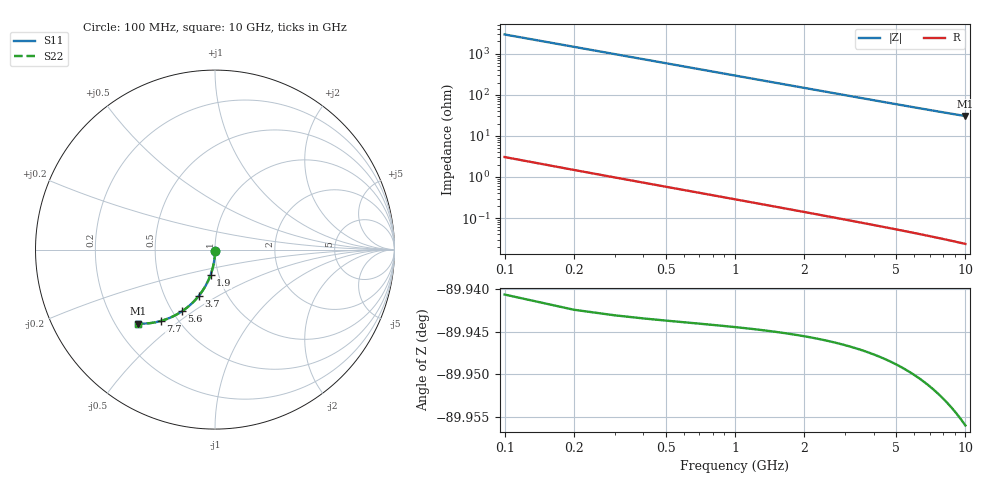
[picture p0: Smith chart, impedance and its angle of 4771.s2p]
# Hz S RI R 50.00
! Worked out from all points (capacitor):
!   100 points, 100 MHz to 10 GHz, reference 50 ohm
!   read as one part in shunt: C = 537 fF near 100 MHz
!   lowest |Z| = 30.6 ohm at 10 GHz (marker M1)
!   S11 on the Smith chart (normalised r, x): 100 MHz: 1.00, -0.02; 1.9 GHz: 0.92, -0.26; 3.7 GHz: 0.74, -0.41; 5.6 GHz: 0.56, -0.45; 7.7 GHz: 0.40, -0.43; 10 GHz: 0.29, -0.37
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1e8  0.000162 -0.00764  0.9997 -0.00924  0.9997 -0.00924  0.000162 -0.00764
2e8  -5.63e-05 -0.0153  0.9995 -0.0185  0.9995 -0.0185  -5.63e-05 -0.0153
3e8  -0.000416 -0.0229  0.9991 -0.0277  0.9991 -0.0277  -0.000416 -0.0229
4e8  -0.000916 -0.0305  0.9986 -0.0369  0.9986 -0.0369  -0.000916 -0.0305
5e8  -0.00156 -0.0381  0.9979 -0.0461  0.9979 -0.0461  -0.00156 -0.0381
6e8  -0.00234 -0.0457  0.9971 -0.0553  0.9971 -0.0553  -0.00234 -0.0457
8e8  -0.00432 -0.0608  0.9951 -0.0736  0.9951 -0.0736  -0.00432 -0.0608
1.1e9  -0.00832 -0.0833  0.991 -0.1009  0.991 -0.1009  -0.00832 -0.0833
1.4e9  -0.0135 -0.1054  0.9857 -0.1279  0.9857 -0.1279  -0.0135 -0.1054
1.8e9  -0.0223 -0.1343  0.9767 -0.1632  0.9767 -0.1632  -0.0223 -0.1343
1.9e9  -0.0248 -0.1414  0.9742 -0.1719  0.9742 -0.1719  -0.0248 -0.1414
2.2e9  -0.0331 -0.1623  0.9657 -0.1976  0.9657 -0.1976  -0.0331 -0.1623
2.6e9  -0.0458 -0.1891  0.9528 -0.2309  0.9528 -0.2309  -0.0458 -0.1891
3.4e9  -0.0762 -0.2391  0.9218 -0.2938  0.9218 -0.2938  -0.0762 -0.2391
3.7e9  -0.0891 -0.2563  0.9085 -0.3159  0.9085 -0.3159  -0.0891 -0.2563
4.4e9  -0.122 -0.2931  0.8749 -0.3641  0.8749 -0.3641  -0.122 -0.2931
5.1e9  -0.158 -0.3248  0.8381 -0.4073  0.8381 -0.4073  -0.158 -0.3248
5.6e9  -0.185 -0.3443  0.8103 -0.4351  0.8103 -0.4351  -0.185 -0.3443
6.7e9  -0.2466 -0.3779  0.7468 -0.487  0.7468 -0.487  -0.2466 -0.3779
7.7e9  -0.3034 -0.398  0.688 -0.524  0.688 -0.524  -0.3034 -0.398
8.4e9  -0.3426 -0.4067  0.6473 -0.5446  0.6473 -0.5446  -0.3426 -0.4067
1e10  -0.4277 -0.4124  0.5579 -0.578  0.5579 -0.578  -0.4277 -0.4124
